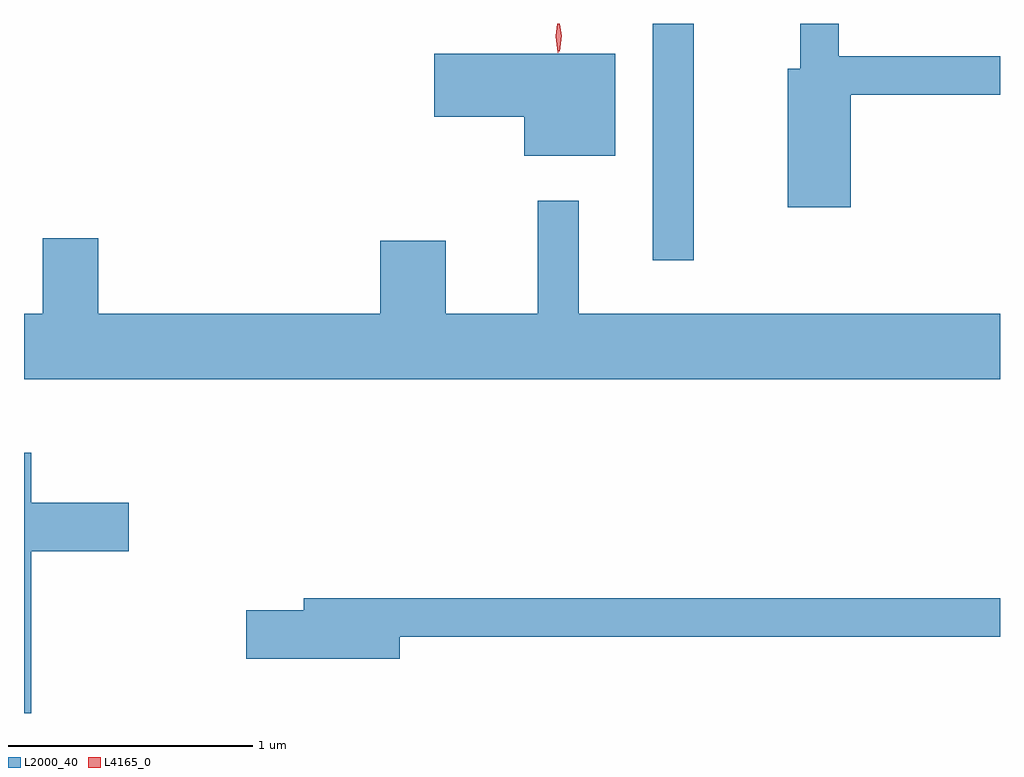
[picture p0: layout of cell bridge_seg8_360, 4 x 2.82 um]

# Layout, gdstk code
import gdstk
lib = gdstk.Library(unit=1e-6, precision=1e-09)
def R(c, l, rs):  # rectangles x0, y0, x1, y1
    for r in rs: c.add(gdstk.rectangle(r[:2], r[2:], *l))
def P(c, l, *ps):  # polygons
    for p in ps: c.add(gdstk.Polygon(p, *l))
L2000_40 = (2000, 40)
L4165_0 = (4165, 0)

bridge_seg8_360 = lib.new_cell('bridge_seg8_360')
R(bridge_seg8_360, L2000_40, [(735.671,1943.463,735.839,1944.432)])
P(bridge_seg8_360, L2000_40, [(736.484,1944.141),(737.095,1944.141),(737.095,1944.299),(736.434,1944.299),(736.434,1944.432),(736.276,1944.432),(736.276,1944.249),(736.226,1944.249),(736.226,1943.681),(736.484,1943.681)],
  [(735.519,1944.309),(734.776,1944.309),(734.776,1944.051),(735.146,1944.051),(735.146,1943.891),(735.519,1943.891)],
  [(737.095,1943.244),(735.369,1943.244),(735.369,1943.708),(735.201,1943.708),(735.201,1943.244),(734.824,1943.244),(734.824,1943.544),(734.556,1943.544),(734.556,1943.244),(733.399,1943.244),(733.399,1943.554),(733.171,1943.554),(733.171,1943.244),(733.095,1943.244),(733.095,1942.976),(737.095,1942.976)],
  [(733.124,1942.271),(733.524,1942.271),(733.524,1942.469),(733.124,1942.469),(733.124,1942.674),(733.095,1942.674),(733.095,1941.608),(733.124,1941.608)],
  [(734.634,1941.921),(737.095,1941.921),(737.095,1942.079),(734.241,1942.079),(734.241,1942.029),(734.006,1942.029),(734.006,1941.831),(734.634,1941.831)])
P(bridge_seg8_360, L4165_0, [(735.283,1944.314),(735.274,1944.382),(735.281,1944.432),(735.287,1944.432),(735.294,1944.382),(735.284,1944.314)],
  [(735.289,1944.32),(735.289,1944.321),(735.279,1944.384),(735.286,1944.432),(735.291,1944.432),(735.299,1944.384),(735.29,1944.321)])

lib.write_gds('bridge_seg8_360.gds')
